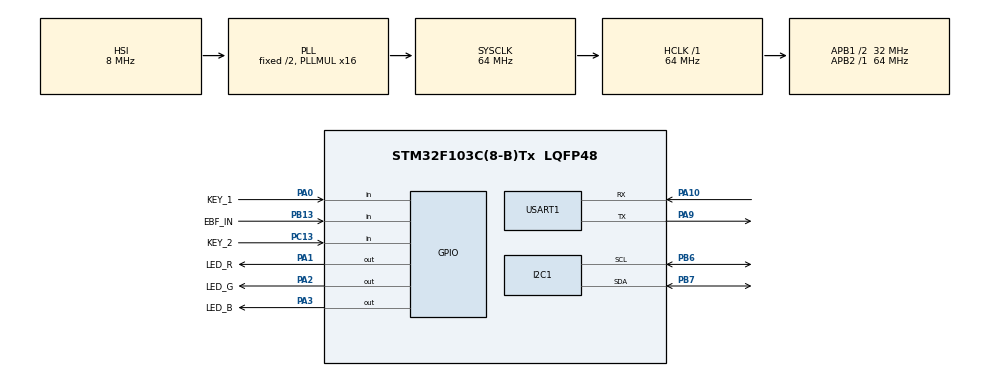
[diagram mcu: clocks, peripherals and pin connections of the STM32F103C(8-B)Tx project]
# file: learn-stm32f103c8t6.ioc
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Mcu.Family=STM32F1
Mcu.Name=STM32F103C(8-B)Tx
Mcu.Package=LQFP48
NVIC.PriorityGroup=NVIC_PRIORITYGROUP_4
PA0-WKUP.GPIO_Label=KEY_1
PA0-WKUP.GPIO_PuPd=GPIO_NOPULL
PA0-WKUP.Signal=GPIO_Input
PA1.GPIO_Label=LED_R
PA1.PinState=GPIO_PIN_SET
PA1.Signal=GPIO_Output
PA10.GPIO_PuPd=GPIO_PULLUP
PA10.Mode=Asynchronous
PA10.Signal=USART1_RX
PA13.Mode=Serial_Wire
PA13.Signal=SYS_JTMS-SWDIO
PA14.Mode=Serial_Wire
PA14.Signal=SYS_JTCK-SWCLK
PA2.GPIO_Label=LED_G
PA2.PinState=GPIO_PIN_SET
PA2.Signal=GPIO_Output
PA3.GPIO_Label=LED_B
PA3.PinState=GPIO_PIN_SET
PA3.Signal=GPIO_Output
PA9.Mode=Asynchronous
PA9.Signal=USART1_TX
PB13.GPIO_Label=EBF_IN
PB13.GPIO_PuPd=GPIO_PULLDOWN
PB13.Signal=GPIO_Input
PB6.Mode=I2C
PB6.Signal=I2C1_SCL
PB7.Mode=I2C
PB7.Signal=I2C1_SDA
PC13-TAMPER-RTC.GPIO_Label=KEY_2
PC13-TAMPER-RTC.GPIO_PuPd=GPIO_NOPULL
PC13-TAMPER-RTC.Signal=GPIO_Input
ProjectManager.HeapSize=0x200
ProjectManager.StackSize=0x400
ProjectManager.TargetToolchain=STM32CubeIDE
RCC.AHBFreq_Value=64000000
RCC.APB1CLKDivider=RCC_HCLK_DIV2
RCC.APB1Freq_Value=32000000
RCC.APB1TimFreq_Value=64000000
RCC.APB2Freq_Value=64000000
RCC.APB2TimFreq_Value=64000000
RCC.HCLKFreq_Value=64000000
RCC.PLLMUL=RCC_PLL_MUL16
RCC.SYSCLKFreq_VALUE=64000000
RCC.SYSCLKSource=RCC_SYSCLKSOURCE_PLLCLK
RCC.USBFreq_Value=64000000
USART1.VirtualMode=VM_ASYNC
board=custom

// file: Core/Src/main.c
/* USER CODE BEGIN Header */
/**
  ******************************************************************************
  * @file           : main.c
  * @brief          : Main program body
  ******************************************************************************
  * @attention
  *
  * Copyright (c) 2025 STMicroelectronics.
  * All rights reserved.
  *
  * This software is licensed under terms that can be found in the LICENSE file
  * in the root directory of this software component.
  * If no LICENSE file comes with this software, it is provided AS-IS.
  *
  ******************************************************************************
  */
/* USER CODE END Header */
#include "main.h"

/* USER CODE BEGIN Includes */
#include <stdio.h>

#include "error.h"
#include "DEMCR/DWT.h"
#include "i2c/hardware/hardware_ssd1306_test.h"
/* USER CODE END Includes */

/* USER CODE BEGIN PM */
#define LED_TOGGLE_SPACE 500
#define DEBOUNCE_DELAY 100

/* USER CODE END PM */

I2C_HandleTypeDef hi2c1;

UART_HandleTypeDef huart1;

/* USER CODE BEGIN PV */
uint32_t last_tick = 0;
uint32_t lastTick = 0;
uint8_t isKeyPressed = 0;
/* USER CODE END PV */

void SystemClock_Config(void);

static void MX_GPIO_Init(void);

static void MX_I2C1_Init(void);

static void MX_USART1_UART_Init(void);

/* USER CODE BEGIN 0 */
void KEY_2_LED_G_Toggle(void) {
    if (HAL_GPIO_ReadPin(GPIOC, KEY_2_Pin) == GPIO_PIN_SET) {
        if (!isKeyPressed && HAL_GetTick() - lastTick > DEBOUNCE_DELAY) {
            isKeyPressed = 1;
            HAL_GPIO_TogglePin(GPIOA, LED_G_Pin);
            lastTick = HAL_GetTick();
        }
    } else if (isKeyPressed) {
        isKeyPressed = 0;
        lastTick = HAL_GetTick();
    }
}

void LED_R_Toggle(void) {
    const uint32_t tick = HAL_GetTick();
    if (tick > last_tick + LED_TOGGLE_SPACE) {
        HAL_GPIO_TogglePin(GPIOA, LED_R_Pin);
        last_tick = tick;
    }
}

/* USER CODE END 0 */

int main(void) {

    /* MCU Configuration--------------------------------------------------------*/

    /* Reset of all peripherals, Initializes the Flash interface and the Systick. */
    HAL_Init();

    /* Configure the system clock */
    SystemClock_Config();

    /* Initialize all configured peripherals */
    MX_GPIO_Init();
    MX_I2C1_Init();
    MX_USART1_UART_Init();
    /* USER CODE BEGIN 2 */
    Hardware_SSD1306_Init_Test(&hi2c1, 128, 64);
    // DWT_Init();
    // Software_SSD1306_Init_Test(128, 64);
    /* USER CODE END 2 */

    /* Infinite loop */
    while (1) {

        /* USER CODE BEGIN 3 */
        KEY_2_LED_G_Toggle();
        LED_R_Toggle();
    }

    /* USER CODE END 3 */
}

void SystemClock_Config(void) {
    RCC_OscInitTypeDef RCC_OscInitStruct = {0};
    RCC_ClkInitTypeDef RCC_ClkInitStruct = {0};

    /** Initializes the RCC Oscillators according to the specified parameters
    * in the RCC_OscInitTypeDef structure.
    */
    RCC_OscInitStruct.OscillatorType = RCC_OSCILLATORTYPE_HSI;
    RCC_OscInitStruct.HSIState = RCC_HSI_ON;
    RCC_OscInitStruct.HSICalibrationValue = RCC_HSICALIBRATION_DEFAULT;
    RCC_OscInitStruct.PLL.PLLState = RCC_PLL_ON;
    RCC_OscInitStruct.PLL.PLLSource = RCC_PLLSOURCE_HSI_DIV2;
    RCC_OscInitStruct.PLL.PLLMUL = RCC_PLL_MUL16;
    if (HAL_RCC_OscConfig(&RCC_OscInitStruct) != HAL_OK) {
        Error_Handler();
    }

    /** Initializes the CPU, AHB and APB buses clocks
    */
    RCC_ClkInitStruct.ClockType = RCC_CLOCKTYPE_HCLK | RCC_CLOCKTYPE_SYSCLK
                                  | RCC_CLOCKTYPE_PCLK1 | RCC_CLOCKTYPE_PCLK2;
    RCC_ClkInitStruct.SYSCLKSource = RCC_SYSCLKSOURCE_PLLCLK;
    RCC_ClkInitStruct.AHBCLKDivider = RCC_SYSCLK_DIV1;
    RCC_ClkInitStruct.APB1CLKDivider = RCC_HCLK_DIV2;
    RCC_ClkInitStruct.APB2CLKDivider = RCC_HCLK_DIV1;

    if (HAL_RCC_ClockConfig(&RCC_ClkInitStruct, FLASH_LATENCY_2) != HAL_OK) {
        Error_Handler();
    }
}

static void MX_I2C1_Init(void) {

    hi2c1.Instance = I2C1;
    hi2c1.Init.ClockSpeed = 100000;
    hi2c1.Init.DutyCycle = I2C_DUTYCYCLE_2;
    hi2c1.Init.OwnAddress1 = 0;
    hi2c1.Init.AddressingMode = I2C_ADDRESSINGMODE_7BIT;
    hi2c1.Init.DualAddressMode = I2C_DUALADDRESS_DISABLE;
    hi2c1.Init.OwnAddress2 = 0;
    hi2c1.Init.GeneralCallMode = I2C_GENERALCALL_DISABLE;
    hi2c1.Init.NoStretchMode = I2C_NOSTRETCH_DISABLE;
    if (HAL_I2C_Init(&hi2c1) != HAL_OK) {
        Error_Handler();
    }
}

static void MX_USART1_UART_Init(void) {

    huart1.Instance = USART1;
    huart1.Init.BaudRate = 115200;
    huart1.Init.WordLength = UART_WORDLENGTH_8B;
    huart1.Init.StopBits = UART_STOPBITS_1;
    huart1.Init.Parity = UART_PARITY_NONE;
    huart1.Init.Mode = UART_MODE_TX_RX;
    huart1.Init.HwFlowCtl = UART_HWCONTROL_NONE;
    huart1.Init.OverSampling = UART_OVERSAMPLING_16;
    if (HAL_UART_Init(&huart1) != HAL_OK) {
        Error_Handler();
    }
}

static void MX_GPIO_Init(void) {
    GPIO_InitTypeDef GPIO_InitStruct = {0};

    /* GPIO Ports Clock Enable */
    __HAL_RCC_GPIOC_CLK_ENABLE();
    __HAL_RCC_GPIOA_CLK_ENABLE();
    __HAL_RCC_GPIOB_CLK_ENABLE();

    /*Configure GPIO pin Output Level */
    HAL_GPIO_WritePin(GPIOA, LED_R_Pin | LED_G_Pin | LED_B_Pin, GPIO_PIN_SET);

    /*Configure GPIO pin : KEY_2_Pin */
    GPIO_InitStruct.Pin = KEY_2_Pin;
    GPIO_InitStruct.Mode = GPIO_MODE_INPUT;
    GPIO_InitStruct.Pull = GPIO_NOPULL;
    HAL_GPIO_Init(KEY_2_GPIO_Port, &GPIO_InitStruct);

    /*Configure GPIO pin : KEY_1_Pin */
    GPIO_InitStruct.Pin = KEY_1_Pin;
    GPIO_InitStruct.Mode = GPIO_MODE_INPUT;
    GPIO_InitStruct.Pull = GPIO_NOPULL;
    HAL_GPIO_Init(KEY_1_GPIO_Port, &GPIO_InitStruct);

    /*Configure GPIO pins : LED_R_Pin LED_G_Pin LED_B_Pin */
    GPIO_InitStruct.Pin = LED_R_Pin | LED_G_Pin | LED_B_Pin;
    GPIO_InitStruct.Mode = GPIO_MODE_OUTPUT_PP;
    GPIO_InitStruct.Pull = GPIO_NOPULL;
    GPIO_InitStruct.Speed = GPIO_SPEED_FREQ_LOW;
    HAL_GPIO_Init(GPIOA, &GPIO_InitStruct);

    /*Configure GPIO pin : EBF_IN_Pin */
    GPIO_InitStruct.Pin = EBF_IN_Pin;
    GPIO_InitStruct.Mode = GPIO_MODE_INPUT;
    GPIO_InitStruct.Pull = GPIO_PULLDOWN;
    HAL_GPIO_Init(EBF_IN_GPIO_Port, &GPIO_InitStruct);

}

/* USER CODE BEGIN 4 */
// 对于 GCC 编译器
#ifdef __GNUC__
#define PUTCHAR_PROTOTYPE int __io_putchar(int ch)
#else
#define PUTCHAR_PROTOTYPE int fputc(int ch, FILE *f)
#endif /* __GNUC__ */

PUTCHAR_PROTOTYPE {
    HAL_UART_Transmit(&huart1, (uint8_t *) &ch, 1, HAL_MAX_DELAY);
    return ch;
}

/* USER CODE END 4 */

void Error_Handler(void) {
    __disable_irq();
    while (1) {
    }
}
